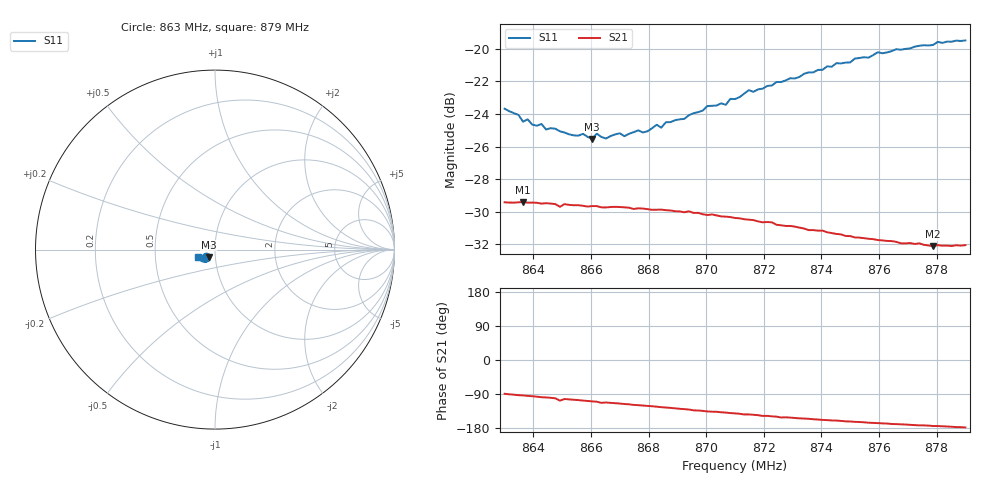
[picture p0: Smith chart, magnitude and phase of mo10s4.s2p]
# HZ S RI R 50
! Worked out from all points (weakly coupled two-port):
!   101 points, 863 MHz to 879 MHz, reference 50 ohm
!   highest |S21| = -29.40 dB at 863.64 MHz (marker M1); lowest = -32.1 dB at 877.88 MHz (marker M2)
!   lowest |S11| = -25.5 dB at 866.04 MHz (marker M3), VSWR 1.11, Z = 46.5 - j3.77 ohm
!   |S11| at or under -10 dB: start of sweep to end of sweep
!   S12 and S22 are empty: the file has one direction only
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8.63e8  -0.0519 -0.0399  0.000462 -0.0338  0 0  0 0
8.6348e8  -0.0492 -0.0389  -0.00168 -0.0338  0 0  0 0
8.6364e8  -0.0468 -0.0372  -0.002 -0.0338  0 0  0 0
8.638e8  -0.0472 -0.0383  -0.00276 -0.0336  0 0  0 0
8.6444e8  -0.043 -0.0368  -0.00515 -0.0332  0 0  0 0
8.654e8  -0.0379 -0.0388  -0.00855 -0.032  0 0  0 0
8.6572e8  -0.0364 -0.041  -0.0097 -0.0316  0 0  0 0
8.6604e8  -0.0342 -0.0404  -0.0108 -0.0311  0 0  0 0
8.662e8  -0.0356 -0.0418  -0.0113 -0.0309  0 0  0 0
8.6652e8  -0.0336 -0.041  -0.0123 -0.0302  0 0  0 0
8.6796e8  -0.0303 -0.0469  -0.0167 -0.0276  0 0  0 0
8.6828e8  -0.0304 -0.0499  -0.0176 -0.0268  0 0  0 0
8.6844e8  -0.0304 -0.0485  -0.0182 -0.0265  0 0  0 0
8.686e8  -0.0306 -0.0511  -0.0185 -0.0261  0 0  0 0
8.7004e8  -0.0337 -0.0576  -0.0221 -0.0216  0 0  0 0
8.7068e8  -0.0333 -0.0585  -0.023 -0.0201  0 0  0 0
8.71e8  -0.0356 -0.0604  -0.0235 -0.0191  0 0  0 0
8.7148e8  -0.0393 -0.0634  -0.0241 -0.0178  0 0  0 0
8.7372e8  -0.0518 -0.0669  -0.0255 -0.0112  0 0  0 0
8.7644e8  -0.0765 -0.0617  -0.0252 -0.005  0 0  0 0
8.7788e8  -0.0881 -0.0527  -0.0247 -0.0025  0 0  0 0
8.79e8  -0.0965 -0.0437  -0.025 -0.000879  0 0  0 0
